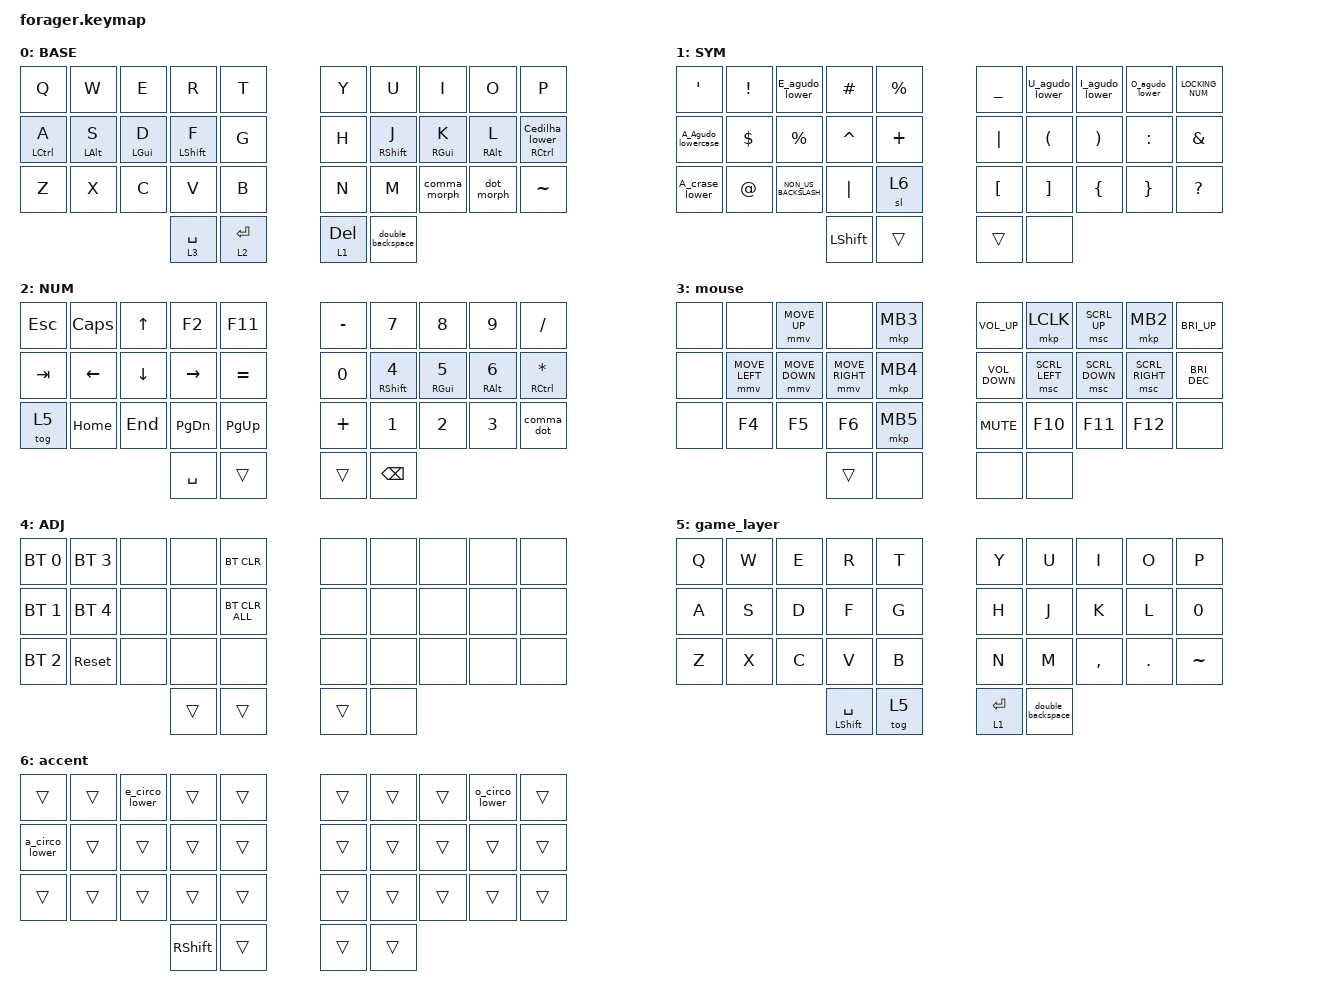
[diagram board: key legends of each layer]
/*
 * Copyright (c) 2020 The ZMK Contributors
 *
 * SPDX-License-Identifier: MIT
 */
//
//   Miryoku-style layout — QWERTY base, vim arrows (HJKL), GACS home row mods.
//   Adapted from the Corne (42-key) config to the Forager (34-key).
//   urob-inspired: timeless positional HRM, punctuation morphs, smart num.
//
//   Layer 0: BASE  — QWERTY + home row mods
//   Layer 1: NAV   — vim arrows, clipboard, nav      (hold left SPACE thumb)
//   Layer 2: NUM   — numpad on left hand    (hold right BSPC thumb; J+K latches)
//   Layer 3: SYM   — symbols on left hand            (hold right RET thumb)
//   Layer 4: ADJ   — BT, output, studio, vol, reset  (hold SPACE+RET together)
//
//   A rendered diagram of this keymap lives at keymap-drawer/forager.svg
//   (auto-generated by the "Draw keymap" workflow).

#include <behaviors.dtsi>
#include <dt-bindings/zmk/bt.h>
#include <dt-bindings/zmk/keys.h>
#include <dt-bindings/zmk/pointing.h>

#define BASE 0
#define NAV  1
#define NUM  2
#define SYM  3
#define ADJ  4

// Forager key positions (34 keys):
// Row 0:  0  1  2  3  4     5  6  7  8  9
// Row 1: 10 11 12 13 14    15 16 17 18 19
// Row 2: 20 21 22 23 24    25 26 27 28 29
// Thumb:        30 31      32 33

#define KEYS_L 0 1 2 3 4 10 11 12 13 14 20 21 22 23 24
#define KEYS_R 5 6 7 8 9 15 16 17 18 19 25 26 27 28 29
#define THUMBS 30 31 32 33

&lt {
    flavor = "balanced";
    tapping-term-ms = <200>;
    quick-tap-ms = <175>;
};

/ {
    conditional_layers {
        compatible = "zmk,conditional-layers";

        // ADJ holds BT/bootloader/reset — two-handed chord only, so a
        // single-thumb misfire can never land on it.

        adj_tri_layer {
            if-layers = <2 1>;
            then-layer = <4>;
        };
    };

    behaviors {
        // -- Timeless positional home row mods (urob-style) --
        // balanced + require-prior-idle + cross-hand-only trigger positions.

        hml: home_row_mod_left {
            compatible = "zmk,behavior-hold-tap";
            #binding-cells = <2>;
            flavor = "balanced";
            tapping-term-ms = <280>;
            quick-tap-ms = <175>;
            require-prior-idle-ms = <150>;
            bindings = <&kp>, <&kp>;

            hold-trigger-key-positions = <KEYS_R THUMBS>;
            hold-trigger-on-release;
        };

        hmr: home_row_mod_right {
            compatible = "zmk,behavior-hold-tap";
            #binding-cells = <2>;
            flavor = "balanced";
            tapping-term-ms = <280>;
            quick-tap-ms = <175>;
            require-prior-idle-ms = <150>;
            bindings = <&kp>, <&kp>;

            hold-trigger-key-positions = <KEYS_L THUMBS>;
            hold-trigger-on-release;
        };

        // -- Punctuation mod-morphs (urob-style) --
        // ,  -> shift: ;   ctrl+shift: <
        // .  -> shift: :   ctrl+shift: >

        comma_morph: comma_morph {
            compatible = "zmk,behavior-mod-morph";
            #binding-cells = <0>;
            bindings = <&kp COMMA>, <&comma_inner_morph>;

            mods = <(MOD_LSFT|MOD_RSFT)>;
        };

        comma_inner_morph: comma_inner_morph {
            compatible = "zmk,behavior-mod-morph";
            #binding-cells = <0>;
            bindings = <&kp SEMICOLON>, <&kp LESS_THAN>;

            mods = <(MOD_LCTL|MOD_RCTL)>;
        };

        dot_morph: dot_morph {
            compatible = "zmk,behavior-mod-morph";
            #binding-cells = <0>;
            bindings = <&kp DOT>, <&dot_inner_morph>;

            mods = <(MOD_LSFT|MOD_RSFT)>;
        };

        dot_inner_morph: dot_inner_morph {
            compatible = "zmk,behavior-mod-morph";
            #binding-cells = <0>;
            bindings = <&kp COLON>, <&kp GREATER_THAN>;

            mods = <(MOD_LCTL|MOD_RCTL)>;
        };

        // -- Num-word (urob-style, needs zmk-auto-layer module) --
        // Latches the NUM layer until a non-number key is pressed.
        // Triggered by the J+K combo so the R-outer thumb keeps an
        // instant, hold-to-repeat Backspace (&lt NUM BSPC).

        num_word: num_word {
            compatible = "zmk,behavior-auto-layer";
            #binding-cells = <1>;
            continue-list = <N0 N1 N2 N3 N4 N5 N6 N7 N8 N9 DOT COMMA MINUS PLUS ASTERISK SLASH EQUAL BSPC DEL>;
            ignore-modifiers;
        };

        cedilha: cedilha {
            compatible = "zmk,behavior-hold-tap";
            label = "CEDILHA";
            bindings = <&kp>, <&Cedilha_lower>;

            #binding-cells = <2>;
            tapping-term-ms = <280>;
            quick-tap-ms = <175>;
            require-prior-idle-ms = <150>;
            flavor = "balanced";
            hold-trigger-on-release;
        };

        double_backspace: double_backspace {
            compatible = "zmk,behavior-tap-dance";
            label = "DOUBLE_BACKSPACE";
            #binding-cells = <0>;
            tapping-term-ms = <200>;
            bindings = <&kp BACKSPACE>, <&kp LC(BACKSPACE)>;
        };

        tap_sticky_holc_layer: tap_sticky_holc_layer {
            compatible = "zmk,behavior-hold-tap";
            label = "TAP_STICKY_HOLC_LAYER";
            bindings = <&lt>, <&sl>;

            #binding-cells = <2>;
            tapping-term-ms = <200>;
            flavor = "balanced";
            hold-trigger-on-release;
        };

        comma_dot: comma_dot {
            compatible = "zmk,behavior-tap-dance";
            label = "COMMA_DOT";
            #binding-cells = <0>;
            bindings = <&kp COMMA>, <&kp DOT>;
        };
    };

    combos {
        compatible = "zmk,combos";

        // -- From old Forager config --
        // -- Tier 1: Essential (from Corne) --

        combo_caps_word {
            bindings = <&caps_word>;
            key-positions = <16 13>;        // F + J (index home row)
            layers = <0>;
            timeout-ms = <30>;
            require-prior-idle-ms = <150>;
        };

        combo_del {
            bindings = <&kp DEL>;
            key-positions = <8 9>;          // O + P
            layers = <0>;
            timeout-ms = <30>;
            require-prior-idle-ms = <150>;
        };

        // -- Tier 2: High Value (from Corne) --

        combo_enter {
            bindings = <&kp RET>;
            key-positions = <17 18>;        // K + L
            layers = <0>;
            timeout-ms = <30>;
            require-prior-idle-ms = <150>;
        };

        combo_num_word {
            bindings = <&num_word NUM>;
            key-positions = <16 17>;        // J + K (latch NUM until non-number)
            layers = <0>;
            timeout-ms = <30>;
            require-prior-idle-ms = <150>;
        };

        combo_copy {
            bindings = <&kp LG(C)>;
            key-positions = <21 22>;        // X + C
            layers = <0>;
            timeout-ms = <30>;
            require-prior-idle-ms = <150>;
        };

        combo_paste {
            bindings = <&kp LG(V)>;
            key-positions = <22 23>;        // C + V
            layers = <0>;
            timeout-ms = <30>;
            require-prior-idle-ms = <150>;
        };

        combo_cut {
            bindings = <&kp LG(X)>;
            key-positions = <21 23>;        // X + V (skip middle)
            layers = <0>;
            timeout-ms = <30>;
            require-prior-idle-ms = <150>;
        };

        // -- Tier 3: Vertical Symbol Combos (from Corne) --

        combo_minus {
            bindings = <&kp MINUS>;
            key-positions = <16 26>;        // J + M (right index vertical)
            layers = <0>;
            timeout-ms = <40>;
            require-prior-idle-ms = <100>;
        };

        combo_underscore {
            bindings = <&kp UNDER>;
            key-positions = <15 25>;        // H + N (right inner vertical)
            layers = <0>;
            timeout-ms = <40>;
            require-prior-idle-ms = <100>;
        };

        combo_equal {
            bindings = <&kp EQUAL>;
            key-positions = <13 23>;        // F + V (left index vertical)
            layers = <0>;
            timeout-ms = <40>;
            require-prior-idle-ms = <100>;
        };

        combo_grave {
            bindings = <&kp GRAVE>;
            key-positions = <11 21>;        // S + X (left ring vertical)
            layers = <0>;
            timeout-ms = <40>;
            require-prior-idle-ms = <100>;
        };

        A_a_u {
            bindings = <&A_agudo_upper>;
            key-positions = <10 30>;
            layers = <1>;
        };

        A_c_u {
            bindings = <&A_crase_upper>;
            key-positions = <20 30>;
            layers = <1>;
        };

        U_a_u {
            bindings = <&U_agudo_upper>;
            key-positions = <6 30>;
            layers = <1>;
        };

        I_a_u {
            bindings = <&I_agudo_upper>;
            key-positions = <7 30>;
            layers = <1>;
        };

        O_a_u {
            bindings = <&O_agudo_upper>;
            key-positions = <8 30>;
            layers = <1>;
        };

        Exit_game {
            bindings = <&to 0>;
            key-positions = <6 8 7 9>;
            layers = <5>;
        };

        A_t_l {
            bindings = <&A_tio_lower>;
            key-positions = <29 10>;
            layers = <0>;
        };

        O_t_l {
            bindings = <&O_tio_lower>;
            key-positions = <8 29>;
            layers = <0>;
        };

        A_t_u_1 {
            bindings = <&A_tio_upper>;
            key-positions = <29 10 16>;
            layers = <0>;
        };

        O_t_u_1 {
            bindings = <&O_tio_upper>;
            key-positions = <8 29 16>;
            layers = <0>;
        };

        A_t_u_2 {
            bindings = <&A_tio_upper>;
            key-positions = <29 10 13>;
            layers = <0>;
        };

        O_t_u_2 {
            bindings = <&O_tio_upper>;
            key-positions = <8 29 13>;
            layers = <0>;
        };

        combo_shift {
            bindings = <&kp RIGHT_SHIFT>;
            key-positions = <33 30>;
            layers = <0>;
        };

        a_circo_u {
            bindings = <&a_circo_upper>;
            key-positions = <10 30>;
            layers = <6>;
        };

        e_circo_u {
            bindings = <&e_circo_upper>;
            key-positions = <2 30>;
            layers = <6>;
        };

        o_circo_u {
            bindings = <&o_circo_upper>;
            key-positions = <30 8>;
            layers = <6>;
        };

        less_sym {
            bindings = <&kp LESS_THAN>;
            key-positions = <30 16>;
            layers = <1>;
        };

        greater_sym {
            bindings = <&kp GREATER_THAN>;
            key-positions = <30 17>;
            layers = <1>;
        };

        e_agd_up {
            bindings = <&E_agudo_upper>;
            key-positions = <30 2>;
            layers = <1>;
        };

        cedilha_up_right {
            bindings = <&Cecidilha_upper>;
            key-positions = <16 19>;
            layers = <0>;
        };

        cedilha_up_left {
            bindings = <&Cecidilha_upper>;
            key-positions = <13 19>;
            layers = <0>;
        };
    };

    macros {
        Cedilha_lower: unicode_cedilha {
            compatible = "zmk,behavior-macro";
            #binding-cells = <0>;
            bindings =
                <&macro_press>,
                <&kp LEFT_ALT>,
                <&macro_tap>,
                <&kp KP_NUMBER_0 &kp KP_NUMBER_2 &kp KP_NUMBER_3 &kp KP_NUMBER_1>,
                <&macro_release>,
                <&kp LEFT_ALT>;

            label = "UNICODE_CEDILHA";
        };

        Cecidilha_upper: Cecidilha_upper {
            compatible = "zmk,behavior-macro";
            #binding-cells = <0>;
            bindings =
                <&macro_press>,
                <&kp LEFT_ALT>,
                <&macro_tap>,
                <&kp KP_NUMBER_0 &kp KP_NUMBER_1 &kp KP_N9 &kp KP_N9>,
                <&macro_release>,
                <&kp LEFT_ALT>;

            label = "CECIDILHA_UPPER";
        };

        A_agudo_upper: A_agudo_lower {
            compatible = "zmk,behavior-macro";
            #binding-cells = <0>;
            bindings =
                <&macro_press>,
                <&kp LEFT_ALT>,
                <&macro_tap>,
                <&kp KP_N0 &kp KP_NUMBER_1 &kp KP_NUMBER_9 &kp KP_NUMBER_3>,
                <&macro_release>,
                <&kp LEFT_ALT>;

            label = "A_AGUDO_LOWER";
        };

        A_crase_upper: A_crase_upper {
            compatible = "zmk,behavior-macro";
            #binding-cells = <0>;
            bindings =
                <&macro_press>,
                <&kp LEFT_ALT>,
                <&macro_tap>,
                <&kp KP_N0 &kp KP_N1 &kp KP_NUMBER_9 &kp KP_N2>,
                <&macro_release>,
                <&kp LEFT_ALT>;

            label = "A_CRASE_UPPER";
        };

        A_crase_lower: A_crase_lower {
            compatible = "zmk,behavior-macro";
            #binding-cells = <0>;
            bindings =
                <&macro_press>,
                <&kp LEFT_ALT>,
                <&macro_tap>,
                <&kp KP_N0 &kp KP_N2 &kp KP_N2 &kp KP_N4>,
                <&macro_release>,
                <&kp LEFT_ALT>;

            label = "A_CRASE_LOWER";
        };

        E_agudo_lower: E_agudo_lower {
            compatible = "zmk,behavior-macro";
            #binding-cells = <0>;
            bindings =
                <&macro_press>,
                <&kp LEFT_ALT>,
                <&macro_tap>,
                <&kp KP_N0 &kp KP_N2 &kp KP_N3 &kp KP_N3>,
                <&macro_release>,
                <&kp LEFT_ALT>;

            label = "E_AGUDO_LOWER";
        };

        E_agudo_upper: E_agudo_upper {
            compatible = "zmk,behavior-macro";
            #binding-cells = <0>;
            bindings =
                <&macro_press>,
                <&kp LEFT_ALT>,
                <&macro_tap>,
                <&kp KP_N0 &kp KP_N2 &kp KP_NUMBER_0 &kp KP_N1>,
                <&macro_release>,
                <&kp LEFT_ALT>;

            label = "E_AGUDO_UPPER";
        };

        O_agudo_lower: O_agudo_lower {
            compatible = "zmk,behavior-macro";
            #binding-cells = <0>;
            bindings =
                <&macro_press>,
                <&kp LEFT_ALT>,
                <&macro_tap>,
                <&kp KP_N0 &kp KP_N2 &kp KP_N4 &kp KP_N3>,
                <&macro_release>,
                <&kp LEFT_ALT>;

            label = "O_AGUDO_LOWER";
        };

        O_agudo_upper: O_agudo_upper {
            compatible = "zmk,behavior-macro";
            #binding-cells = <0>;
            bindings =
                <&macro_press>,
                <&kp LEFT_ALT>,
                <&macro_tap>,
                <&kp KP_N0 &kp KP_N2 &kp KP_N1 &kp KP_N1>,
                <&macro_release>,
                <&kp LEFT_ALT>;

            label = "O_AGUDO_UPPER";
        };

        I_agudo_lower: I_agudo_lower {
            compatible = "zmk,behavior-macro";
            #binding-cells = <0>;
            bindings =
                <&macro_press>,
                <&kp LEFT_ALT>,
                <&macro_tap>,
                <&kp KP_NUMBER_0 &kp KP_N2 &kp KP_N3 &kp KP_N7>,
                <&macro_release>,
                <&kp LEFT_ALT>;

            label = "I_AGUDO_LOWER";
        };

        I_agudo_upper: I_agudo_upper {
            compatible = "zmk,behavior-macro";
            #binding-cells = <0>;
            bindings =
                <&macro_press>,
                <&kp LEFT_ALT>,
                <&macro_tap>,
                <&kp KP_N0 &kp KP_N2 &kp KP_N0 &kp KP_N5>,
                <&macro_release>,
                <&kp LEFT_ALT>;

            label = "I_AGUDO_UPPER";
        };

        U_agudo_lower: U_agudo_lower {
            compatible = "zmk,behavior-macro";
            #binding-cells = <0>;
            bindings =
                <&macro_press>,
                <&kp LEFT_ALT>,
                <&macro_tap>,
                <&kp KP_N0 &kp KP_N2 &kp KP_NUMBER_5 &kp KP_NUMBER_0>,
                <&macro_release>,
                <&kp LEFT_ALT>;

            label = "U_AGUDO_LOWER";
        };

        U_agudo_upper: U_agudo_upper {
            compatible = "zmk,behavior-macro";
            #binding-cells = <0>;
            bindings =
                <&macro_press>,
                <&kp LEFT_ALT>,
                <&macro_tap>,
                <&kp KP_N0 &kp KP_N2 &kp KP_N1 &kp KP_N8>,
                <&macro_release>,
                <&kp LEFT_ALT>;

            label = "U_AGUDO_UPPER";
        };

        A_Agudo_lowercase: A_Agudo_lowercase {
            compatible = "zmk,behavior-macro";
            #binding-cells = <0>;
            bindings =
                <&macro_press>,
                <&kp LEFT_ALT>,
                <&macro_tap>,
                <&kp KP_N0 &kp KP_N2 &kp KP_N2 &kp KP_N5>,
                <&macro_release>,
                <&kp LEFT_ALT>;

            label = "A_AGUDO_LOWERCASE";
        };

        A_tio_lower: a_tio_lower {
            compatible = "zmk,behavior-macro";
            #binding-cells = <0>;
            bindings =
                <&macro_press>,
                <&kp LEFT_ALT>,
                <&macro_tap>,
                <&kp KP_N0 &kp KP_N2 &kp KP_N2 &kp KP_NUMBER_7>,
                <&macro_release>,
                <&kp LEFT_ALT>;

            label = "A_TIO_LOWER";
        };

        O_tio_lower: o_tio_lower {
            compatible = "zmk,behavior-macro";
            #binding-cells = <0>;
            bindings =
                <&macro_press>,
                <&kp LEFT_ALT>,
                <&macro_tap>,
                <&kp KP_N0 &kp KP_N2 &kp KP_NUMBER_4 &kp KP_NUMBER_5>,
                <&macro_release>,
                <&kp LEFT_ALT>;

            label = "O_TIO_LOWER";
        };

        A_tio_upper: A_tio_upper {
            compatible = "zmk,behavior-macro";
            #binding-cells = <0>;
            bindings =
                <&macro_press>,
                <&kp LEFT_ALT>,
                <&macro_tap>,
                <&kp KP_N0 &kp KP_NUMBER_1 &kp KP_NUMBER_9 &kp KP_NUMBER_5>,
                <&macro_release>,
                <&kp LEFT_ALT>;

            label = "A_TIO_UPPER";
        };

        O_tio_upper: O_tio_upper {
            compatible = "zmk,behavior-macro";
            #binding-cells = <0>;
            bindings =
                <&macro_press>,
                <&kp LEFT_ALT>,
                <&macro_tap>,
                <&kp KP_N0 &kp KP_NUMBER_2 &kp KP_NUMBER_1 &kp KP_NUMBER_3>,
                <&macro_release>,
                <&kp LEFT_ALT>;

            label = "O_TIO_UPPER";
        };

        a_circo_lower: a_circo_lower {
            compatible = "zmk,behavior-macro";
            #binding-cells = <0>;
            bindings =
                <&macro_press>,
                <&kp LEFT_ALT>,
                <&macro_tap>,
                <&kp KP_N0 &kp KP_NUMBER_2 &kp KP_NUMBER_2 &kp KP_NUMBER_6>,
                <&macro_release>,
                <&kp LEFT_ALT>;

            label = "A_CIRCO_LOWER";
        };

        e_circo_lower: e_circo_lower {
            compatible = "zmk,behavior-macro";
            #binding-cells = <0>;
            bindings =
                <&macro_press>,
                <&kp LEFT_ALT>,
                <&macro_tap>,
                <&kp KP_N0 &kp KP_NUMBER_2 &kp KP_NUMBER_3 &kp KP_NUMBER_4>,
                <&macro_release>,
                <&kp LEFT_ALT>;

            label = "E_CIRCO_LOWER";
        };

        o_circo_lower: o_circo_lower {
            compatible = "zmk,behavior-macro";
            #binding-cells = <0>;
            bindings =
                <&macro_press>,
                <&kp LEFT_ALT>,
                <&macro_tap>,
                <&kp KP_N0 &kp KP_NUMBER_2 &kp KP_NUMBER_4 &kp KP_NUMBER_4>,
                <&macro_release>,
                <&kp LEFT_ALT>;

            label = "O_CIRCO_LOWER";
        };

        a_circo_upper: a_circo_upper {
            compatible = "zmk,behavior-macro";
            #binding-cells = <0>;
            bindings =
                <&macro_press>,
                <&kp LEFT_ALT>,
                <&macro_tap>,
                <&kp KP_N0 &kp KP_NUMBER_1 &kp KP_NUMBER_9 &kp KP_NUMBER_4>,
                <&macro_release>,
                <&kp LEFT_ALT>;

            label = "A_CIRCO_UPPER";
        };

        e_circo_upper: e_circo_upper {
            compatible = "zmk,behavior-macro";
            #binding-cells = <0>;
            bindings =
                <&macro_press>,
                <&kp LEFT_ALT>,
                <&macro_tap>,
                <&kp KP_N0 &kp KP_NUMBER_2 &kp KP_NUMBER_0 &kp KP_NUMBER_2>,
                <&macro_release>,
                <&kp LEFT_ALT>;

            label = "E_CIRCO_UPPER";
        };

        o_circo_upper: o_circo_upper {
            compatible = "zmk,behavior-macro";
            #binding-cells = <0>;
            bindings =
                <&macro_press>,
                <&kp LEFT_ALT>,
                <&macro_tap>,
                <&kp KP_N0 &kp KP_NUMBER_2 &kp KP_NUMBER_1 &kp KP_NUMBER_2>,
                <&macro_release>,
                <&kp LEFT_ALT>;

            label = "O_CIRCO_UPPER";
        };
    };

    keymap {
        compatible = "zmk,keymap";

        base_layer {
            display-name = "BASE";
            bindings = <
  &kp Q         &kp W        &kp E            &kp R         &kp T          &kp Y      &kp U              &kp I             &kp O        &kp P
  &hml LCTRL A  &hml LALT S  &hml LEFT_GUI D  &hml LSHFT F  &kp G          &kp H      &hmr RSHIFT J      &hmr RIGHT_GUI K  &hmr RALT L  &cedilha RCTRL 0
  &kp Z         &kp X        &kp C            &kp V         &kp B          &kp N      &kp M              &comma_morph      &dot_morph   &kp TILDE
                                              &lt 3 SPACE   &lt 2 ENTER    &lt 1 DEL  &double_backspace
            >;
        };

        sym_layer {
            display-name = "SYM";
            bindings = <
  &kp SINGLE_QUOTE    &kp EXCLAMATION  &E_agudo_lower        &kp HASH   &kp PERCENT    &kp UNDERSCORE    &U_agudo_lower        &I_agudo_lower         &O_agudo_lower   &kp LOCKING_NUM
  &A_Agudo_lowercase  &kp DLLR         &kp PRCNT             &kp CARET  &kp PLUS       &kp PIPE          &kp LEFT_PARENTHESIS  &kp RIGHT_PARENTHESIS  &kp COLON        &kp AMPERSAND
  &A_crase_lower      &kp AT_SIGN      &kp NON_US_BACKSLASH  &kp PIPE   &sl 6          &kp LEFT_BRACKET  &kp RIGHT_BRACKET     &kp LEFT_BRACE         &kp RIGHT_BRACE  &kp QUESTION
                                                             &kp LSHFT  &trans         &trans            &none
            >;
        };

        num_layer {
            display-name = "NUM";
            bindings = <
  &kp ESCAPE  &kp CAPS        &kp UP_ARROW    &kp F2           &kp F11        &kp MINUS     &kp N7               &kp N8                   &kp N9                   &kp SLASH
  &kp TAB     &kp LEFT_ARROW  &kp DOWN_ARROW  &kp RIGHT_ARROW  &kp EQUAL      &kp NUMBER_0  &hmr RIGHT_SHIFT N4  &hmr RIGHT_GUI NUMBER_5  &hmr RIGHT_ALT NUMBER_6  &hmr RCTRL ASTERISK
  &tog 5      &kp HOME        &kp END         &kp PAGE_DOWN    &kp PAGE_UP    &kp PLUS      &kp NUMBER_1         &kp NUMBER_2             &kp NUMBER_3             &comma_dot
                                              &kp SPACE        &trans         &trans        &kp BSPC
            >;
        };

        mouse {
            bindings = <
  &none  &none           &mmv MOVE_UP    &none            &mkp MB3    &kp C_VOLUME_UP    &mkp LCLK       &msc SCRL_UP    &mkp MB2         &kp C_BRI_UP
  &none  &mmv MOVE_LEFT  &mmv MOVE_DOWN  &mmv MOVE_RIGHT  &mkp MB4    &kp C_VOLUME_DOWN  &msc SCRL_LEFT  &msc SCRL_DOWN  &msc SCRL_RIGHT  &kp C_BRI_DEC
  &none  &kp F4          &kp F5          &kp F6           &mkp MB5    &kp C_MUTE         &kp F10         &kp F11         &kp F12          &none
                                         &trans           &none       &none              &none
            >;
        };

        adj_layer {
            display-name = "ADJ";
            bindings = <
  &bt BT_SEL 0  &bt BT_SEL 3  &none  &none   &bt BT_CLR        &none   &none  &none  &none  &none
  &bt BT_SEL 1  &bt BT_SEL 4  &none  &none   &bt BT_CLR_ALL    &none   &none  &none  &none  &none
  &bt BT_SEL 2  &sys_reset    &none  &none   &none             &none   &none  &none  &none  &none
                                     &trans  &trans            &trans  &none
            >;
        };

        game_layer {
            bindings = <
  &kp Q  &kp W  &kp E  &kp R              &kp T     &kp Y        &kp U              &kp I      &kp O    &kp P
  &kp A  &kp S  &kp D  &kp F              &kp G     &kp H        &kp J              &kp K      &kp L    &kp N0
  &kp Z  &kp X  &kp C  &kp V              &kp B     &kp N        &kp M              &kp COMMA  &kp DOT  &kp TILDE
                       &hml LSHIFT SPACE  &tog 5    &lt 1 ENTER  &double_backspace
            >;
        };

        accent {
            bindings = <
  &trans          &trans  &e_circo_lower  &trans           &trans    &trans  &trans  &trans  &o_circo_lower  &trans
  &a_circo_lower  &trans  &trans          &trans           &trans    &trans  &trans  &trans  &trans          &trans
  &trans          &trans  &trans          &trans           &trans    &trans  &trans  &trans  &trans          &trans
                                          &kp RIGHT_SHIFT  &trans    &trans  &trans
            >;
        };
    };
};
